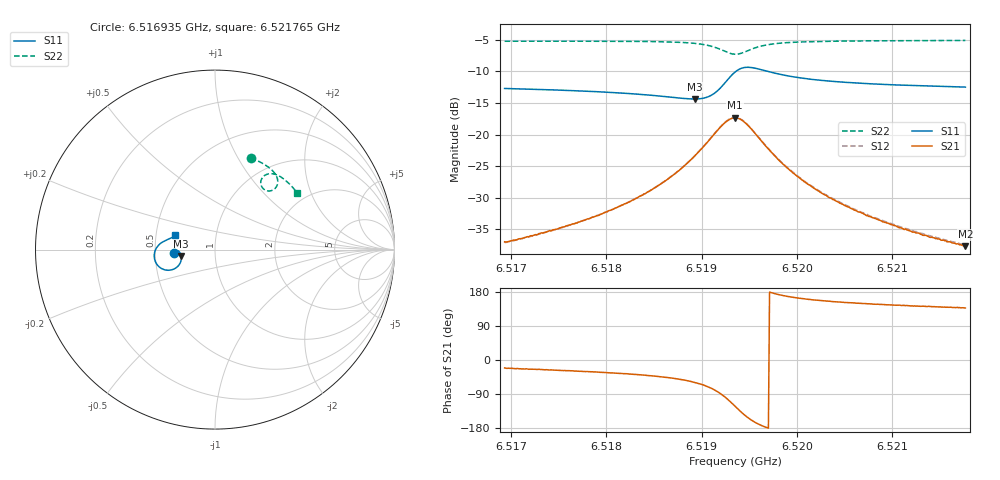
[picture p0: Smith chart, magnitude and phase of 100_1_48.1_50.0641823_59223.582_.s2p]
#  HZ  S  RI  R  50.00
! Rohde & Schwarz Vector Network Analyzer
! Rohde-Schwarz,ZNB20-2Port,1311601062101988,3.16
! Created: UTC 12/23/2023, 3:44:39 AM
! freq[Hz]  re:S11  im:S11  re:S21  im:S21  re:S12  im:S12  re:S22  im:S22
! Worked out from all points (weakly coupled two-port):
!   401 points, 6.516935 GHz to 6.521765 GHz, reference 50 ohm
!   highest |S21| = -17.35 dB at 6.51935 GHz (marker M1); lowest = -37.7 dB at 6.521765 GHz (marker M2)
!   lowest |S11| = -14.4 dB at 6.518927 GHz (marker M3), VSWR 1.47, Z = 34.1 - j2.5 ohm
!   |S11| at or under -10 dB: start of sweep to 6.519358 GHz; 6.519694 GHz to end of sweep
!   |S22| runs from -7.3 to -5.1 dB; largest |S21 - S12| = 0.004
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6.5169348e9  -0.2311 -0.0186  0.0132 -0.00507  0.0131 -0.00455  0.1987 0.511
6.5173574e9  -0.2263 -0.0123  0.0151 -0.00733  0.0153 -0.00678  0.23 0.4981
6.5177438e9  -0.221 -0.00758  0.0179 -0.0103  0.0182 -0.00972  0.2588 0.4839
6.5181785e9  -0.2126 -0.00527  0.0225 -0.0163  0.0231 -0.0156  0.2913 0.4639
6.5185528e9  -0.2017 -0.00959  0.0287 -0.0275  0.0297 -0.0266  0.3202 0.4399
6.518758e9  -0.194 -0.0187  0.0328 -0.0397  0.0343 -0.0388  0.3361 0.4206
6.5189271e9  -0.1879 -0.0354  0.0347 -0.0578  0.0366 -0.0572  0.3471 0.3974
6.5190357e9  -0.1876 -0.0543  0.0315 -0.0766  0.0342 -0.076  0.3496 0.3763
6.5191203e9  -0.1945 -0.0757  0.0221 -0.0958  0.0252 -0.0958  0.3451 0.3564
6.5192531e9  -0.2364 -0.1113  -0.0205 -0.1241  -0.0172 -0.1256  0.313 0.3278
6.5193014e9  -0.2639 -0.115  -0.0459 -0.1247  -0.0427 -0.1268  0.2932 0.3269
6.5193497e9  -0.2933 -0.1077  -0.0717 -0.1151  -0.0689 -0.1179  0.2739 0.3352
6.519398e9  -0.318 -0.0894  -0.0915 -0.0966  -0.0896 -0.0997  0.2601 0.351
6.5194583e9  -0.3352 -0.0584  -0.1035 -0.0675  -0.1023 -0.0709  0.2548 0.3748
6.5195549e9  -0.3357 -0.0133  -0.0991 -0.0288  -0.0991 -0.032  0.2668 0.4044
6.5196636e9  -0.3201 0.0177  -0.0824 -0.00485  -0.0828 -0.00733  0.2895 0.4196
6.5198809e9  -0.2906 0.0432  -0.0547 0.0109  -0.0555 0.00942  0.3274 0.4216
6.5201586e9  -0.2679 0.054  -0.0359 0.0139  -0.0367 0.0129  0.3596 0.4092
6.5205088e9  -0.2519 0.0608  -0.024 0.0129  -0.0248 0.0123  0.3885 0.3894
6.5209676e9  -0.2389 0.0675  -0.0162 0.0111  -0.0167 0.0109  0.4179 0.3625
6.521354e9  -0.2311 0.073  -0.0124 0.0099  -0.0128 0.00955  0.4394 0.3391
6.5217645e9  -0.2241 0.0786  -0.00958 0.00886  -0.01 0.00878  0.4593 0.3137
